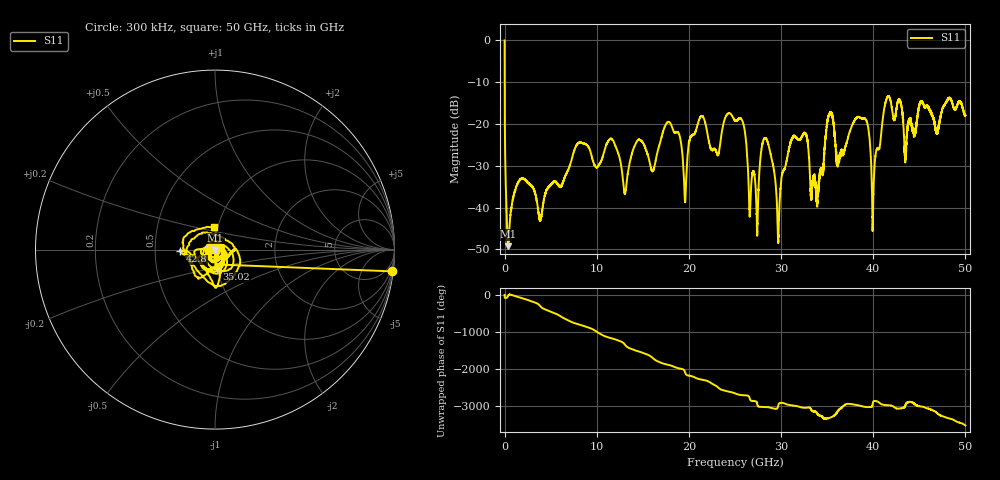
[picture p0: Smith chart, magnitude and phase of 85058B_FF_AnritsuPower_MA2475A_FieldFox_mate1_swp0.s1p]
!Created with skrf (http://scikit-rf.org).
# Hz S RI R 50.0
!freq ReS11 ImS11
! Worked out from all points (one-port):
!   10001 points, 300 kHz to 50 GHz, reference 50 ohm
!   lowest |S11| = -49.2 dB at 370.3 MHz (marker M1), VSWR 1.01, Z = 50.3 - j0.214 ohm
!   |S11| at or under -10 dB: 7.724 MHz to end of sweep
!   S11 on the Smith chart (normalised r, x): 300 kHz: 1, -16; 35.02 GHz: 1.00, -0.22; 42.8 GHz: 0.68, -0.01; 50 GHz: 0.97, +0.25
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300000  0.9867 -0.1213
3.702978e8  0.00273 -0.00213
1.755289e9  0.00222 -0.022
3.855277e9  0.00397 0.00599
6.250262e9  -0.00705 0.0176
8.095251e9  0.00959 -0.0591
1.250022e10  -0.037 -0.00937
1.307522e10  0.000124 0.0146
1.875019e10  -0.0787 -0.0153
1.958018e10  0.00191 0.0115
2.126017e10  -0.0509 -0.1105
2.305516e10  0.0263 0.0347
2.500015e10  -0.0701 -0.0849
2.735014e10  0.0083 -0.000383
2.846513e10  -0.0466 -0.0433
2.969012e10  -0.000482 -0.00399
3.125011e10  -0.0049 -0.069
3.26551e10  -0.071 -0.0307
3.39101e10  0.00733 0.00906
3.501509e10  0.0118 -0.1066
3.621508e10  -0.0231 0.0237
3.750008e10  0.0493 -0.0672
3.923006e10  -0.0797 -0.0772
4.000006e10  0.0113 0.00184
4.140505e10  0.0173 -0.1915
4.280004e10  -0.1935 -0.00974
4.375004e10  0.0985 -0.0232
5e10  0.0019 0.1272
